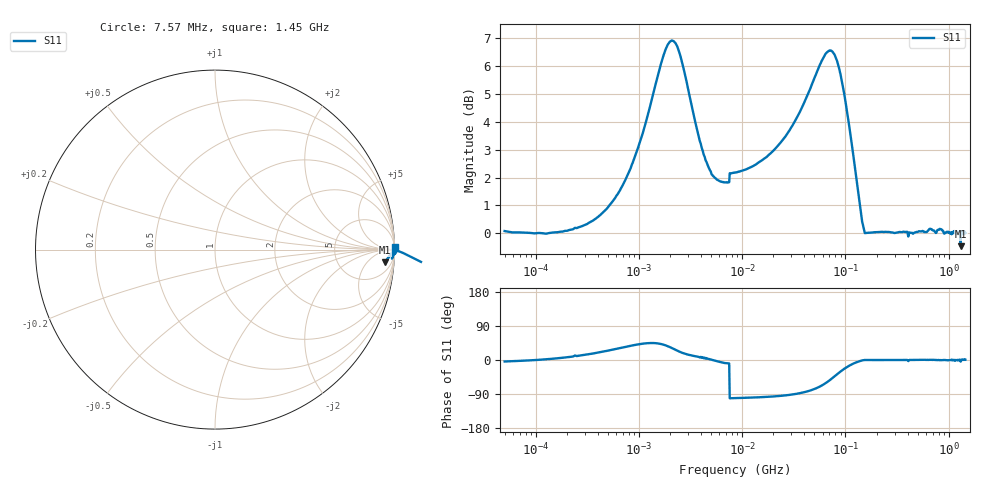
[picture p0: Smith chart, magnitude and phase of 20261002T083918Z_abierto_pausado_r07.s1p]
! piloto_saltos / abierto_pausado / r07
# HZ S RI R 50
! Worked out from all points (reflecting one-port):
!   501 points, 50 kHz to 1.45 GHz, reference 50 ohm
!   lowest |S11| = -0.5 dB at 1.306 GHz (marker M1), VSWR 37.63, Z = 629 - j887 ohm
!   phase of S11 starts at -4 deg and turns +5 deg over the sweep
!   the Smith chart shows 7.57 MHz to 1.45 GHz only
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50000  1.007 -0.0698
183000  1.002 0.105
363500  1.007 0.3163
658000  1.019 0.6265
1180000  1.145 1.111
1630000  1.489 1.354
1990000  1.829 1.238
2440000  1.959 0.8161
2890000  1.808 0.4912
3430000  1.587 0.2942
4870000  1.298 0.0432
7300000  1.219 -0.1929
7750000  -0.2412 -1.259
8560000  -0.2346 -1.265
1.81e7  -0.169 -1.373
3.16e7  -0.011 -1.577
4.69e7  0.3407 -1.813
6.4e7  1.005 -1.843
7.3e7  1.369 -1.629
8.65e7  1.652 -1.099
9.82e7  1.627 -0.6748
1e8  1.61 -0.6192
1.18e8  1.377 -0.2437
1.36e8  1.148 -0.0683
1.63e8  1.002 -0.000776
4.06e8  0.9857 -0.0505
1.306e9  0.9456 -0.0711
1.45e9  1.001 0.0126
